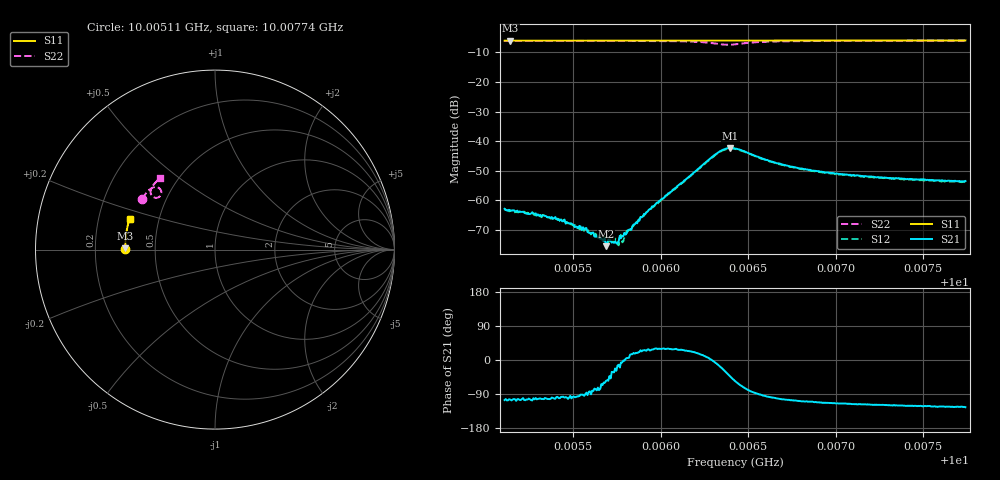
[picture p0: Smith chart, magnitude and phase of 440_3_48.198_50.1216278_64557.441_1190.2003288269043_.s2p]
#  HZ  S  RI  R  50.00
! Rohde & Schwarz Vector Network Analyzer
! Rohde-Schwarz,ZNB20-2Port,1311601062101988,3.16
! Created: UTC 3/20/2024, 11:55:48 AM
! freq[Hz]  re:S11  im:S11  re:S21  im:S21  re:S12  im:S12  re:S22  im:S22
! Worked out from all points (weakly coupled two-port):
!   401 points, 10.00511 GHz to 10.00774 GHz, reference 50 ohm
!   highest |S21| = -42.34 dB at 10.0064 GHz (marker M1); lowest = -75.6 dB at 10.00569 GHz (marker M2)
!   lowest |S11| = -6.0 dB at 10.00514 GHz (marker M3), VSWR 3.00, Z = 16.7 + j0.286 ohm
!   |S11| at or under -10 dB: nowhere
!   |S22| runs from -7.4 to -6.0 dB; largest |S21 - S12| = 0.00047
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1.0005109e10  -0.5003 0.00426  -0.000193 -0.000686  -0.000124 -0.000674  -0.4054 0.2839
1.0005142e10  -0.5002 0.00644  -0.000171 -0.000649  -0.00013 -0.000645  -0.4044 0.2858
1.0005254e10  -0.5004 0.0137  -0.000136 -0.000562  -0.000101 -0.0006  -0.3999 0.2924
1.0005405e10  -0.5004 0.0235  -6.43e-05 -0.000473  -7.48e-05 -0.000472  -0.3938 0.3013
1.0005517e10  -0.5 0.0309  -4.65e-05 -0.000354  -8.89e-06 -0.000378  -0.389 0.3079
1.000555e10  -0.5 0.033  -8.57e-06 -0.000311  1.07e-05 -0.00034  -0.3874 0.31
1.000557e10  -0.5001 0.0343  -3.21e-06 -0.000331  1.22e-05 -0.000333  -0.3865 0.3112
1.0005688e10  -0.4996 0.0421  9.42e-05 -0.000137  0.000117 -0.000168  -0.3805 0.3183
1.0005747e10  -0.4994 0.0459  0.000163 -8.87e-05  0.000178 -9.34e-05  -0.3774 0.3222
1.0005774e10  -0.4993 0.0476  0.000225 -2.53e-05  0.000256 -3.15e-05  -0.3758 0.3238
1.0005793e10  -0.4991 0.0488  0.000278 -9.2e-06  0.000236 1.8e-05  -0.3747 0.3251
1.0005807e10  -0.4993 0.0497  0.000275 2.52e-05  0.0003 3.35e-05  -0.3739 0.3259
1.0005866e10  -0.4989 0.0535  0.000384 0.000127  0.000397 0.000173  -0.3701 0.3296
1.0005991e10  -0.4981 0.0617  0.000834 0.000482  0.000802 0.000477  -0.3604 0.338
1.0006307e10  -0.4954 0.0819  0.00575 -0.000484  0.00556 -0.000191  -0.3032 0.3337
1.0006353e10  -0.4948 0.0846  0.00652 -0.00272  0.00647 -0.00235  -0.2991 0.3129
1.0006399e10  -0.4945 0.0873  0.00551 -0.00529  0.00565 -0.00489  -0.3121 0.293
1.0006425e10  -0.4943 0.089  0.00424 -0.00619  0.00452 -0.00581  -0.3244 0.2886
1.0006656e10  -0.4925 0.1036  -0.00076 -0.00423  -0.000578 -0.00421  -0.3581 0.329
1.0006866e10  -0.49 0.1171  -0.00108 -0.00297  -0.000992 -0.00297  -0.3491 0.3516
1.0007307e10  -0.4835 0.1448  -0.00116 -0.00207  -0.00103 -0.00208  -0.3264 0.3793
1.0007742e10  -0.4754 0.1717  -0.0012 -0.00173  -0.00103 -0.00172  -0.3044 0.4003
